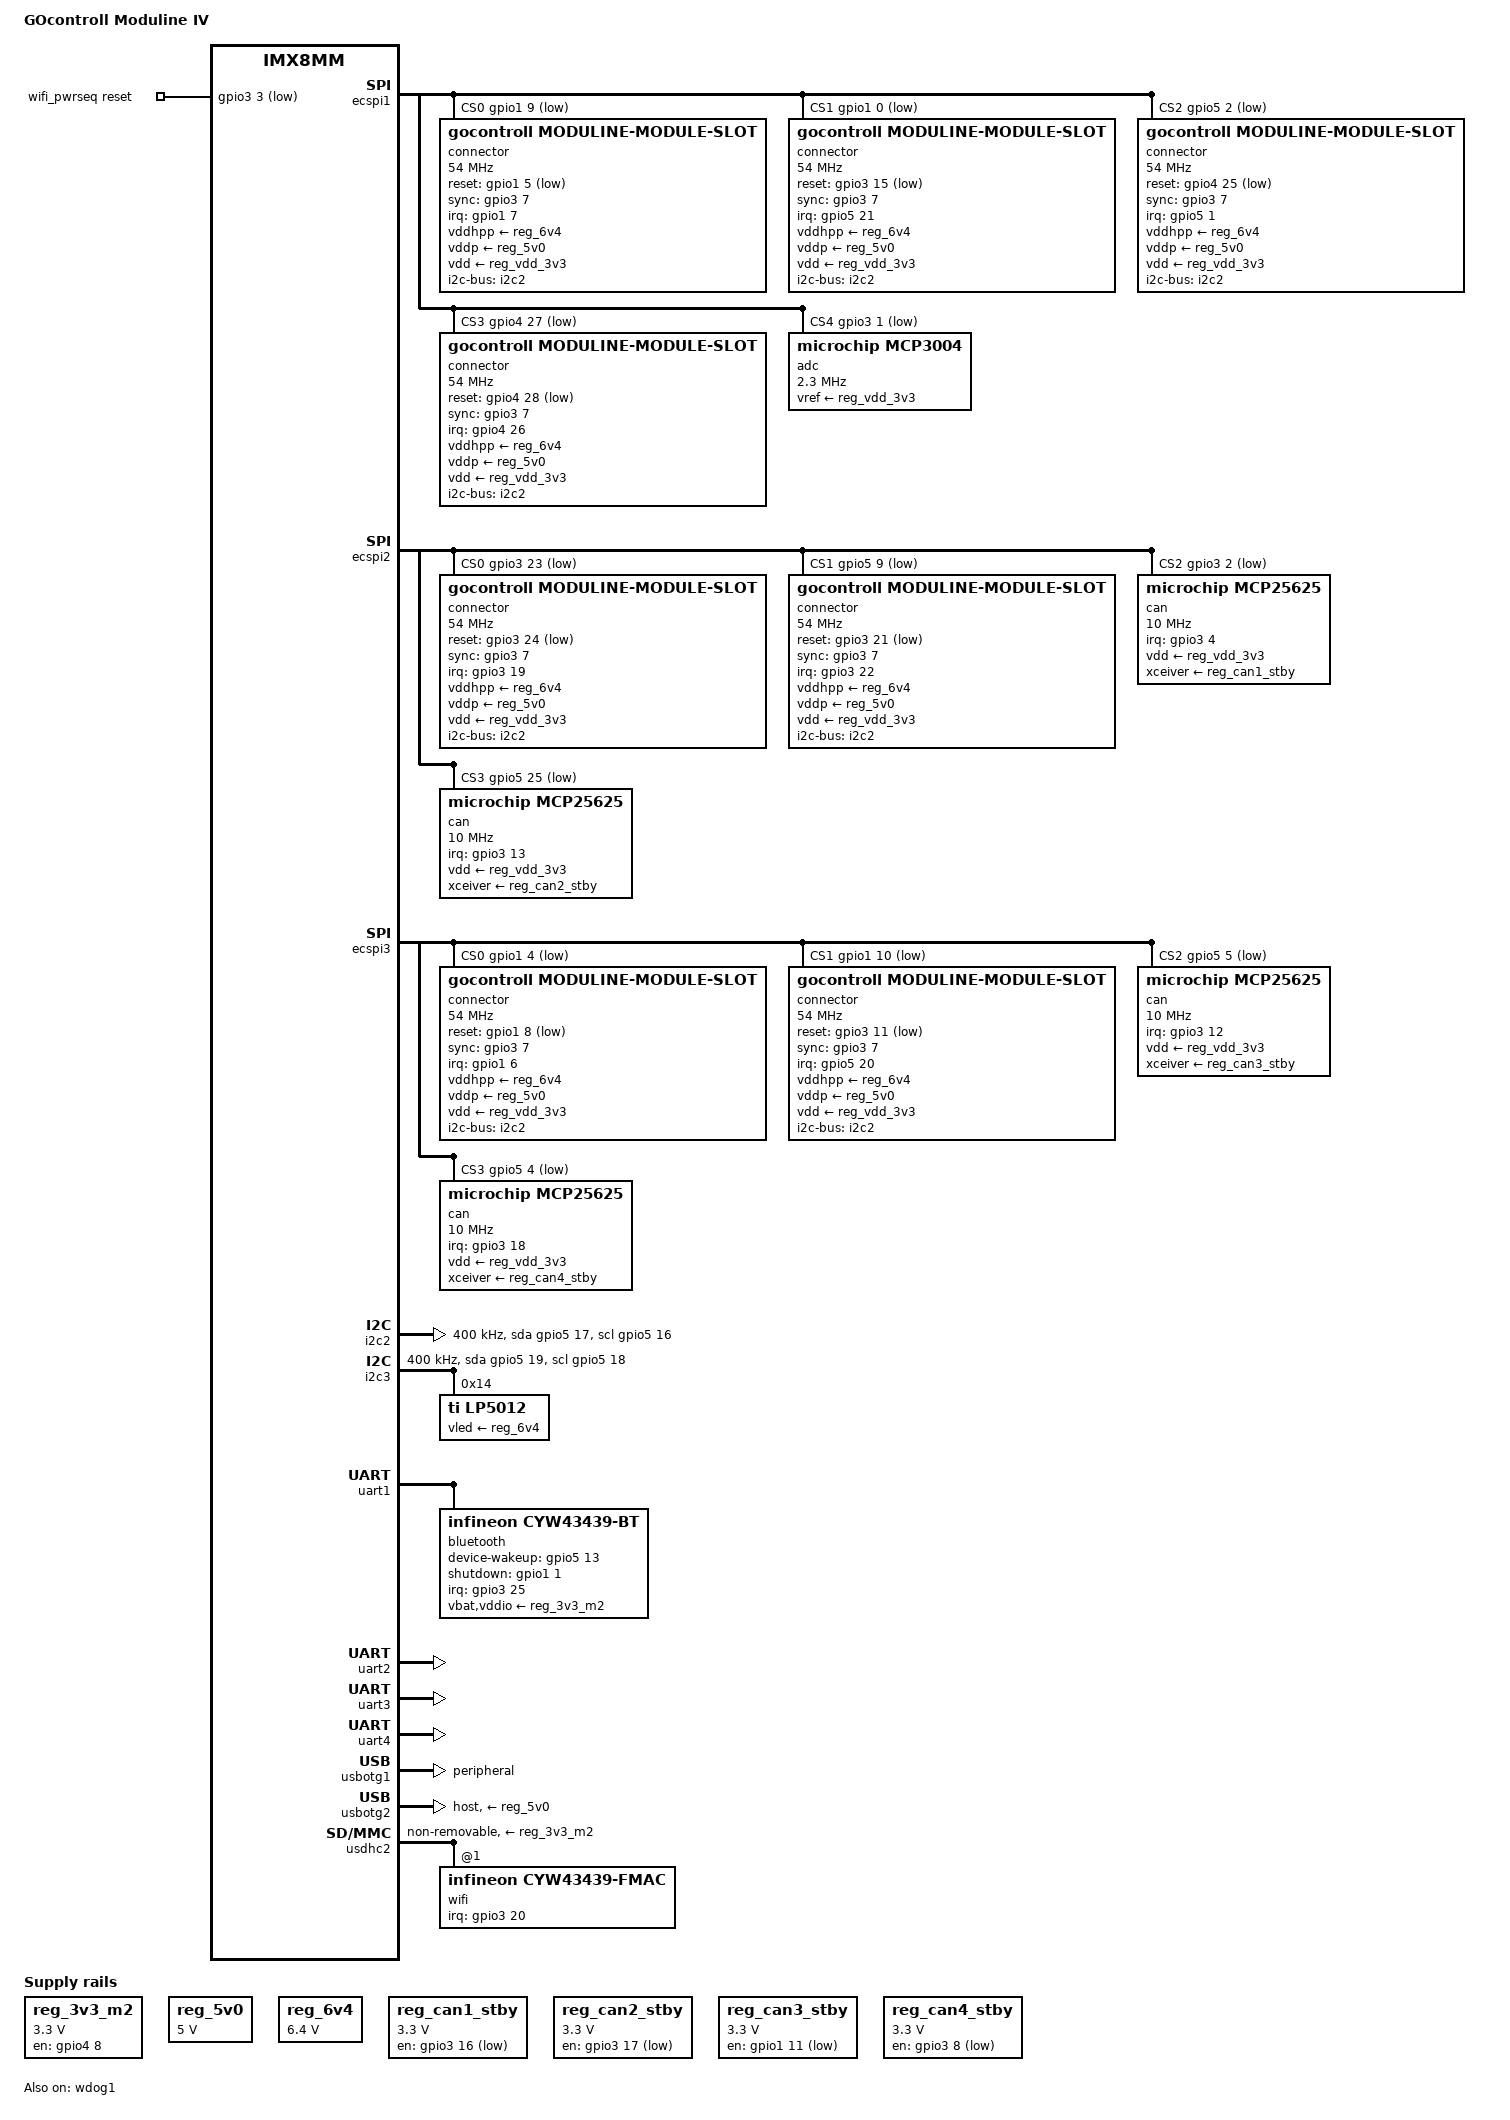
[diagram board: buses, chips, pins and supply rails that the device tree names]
// SPDX-License-Identifier: (GPL-2.0 OR MIT)
/*
 * Copyright (C) 2025 Maud Spierings <maudspierings@gocontroll.com>
 */

/dts-v1/;

#include <dt-bindings/leds/common.h>

#include "imx8mm-tx8m-1610.dtsi"

/ {
	chassis-type = "embedded";
	compatible = "gocontroll,moduline-iv-306-d", "karo,tx8m-1610", "fsl,imx8mm";
	hardware = "Moduline IV V3.06-D";
	model = "GOcontroll Moduline IV";

	aliases {
		spi0 = &ecspi2; /* spidev number compatibility */
		spi1 = &ecspi3; /* spidev number compatibility */
		spi2 = &ecspi1; /* spidev number compatibility */
	};

	chosen {
		stdout-path = "serial2:115200n8";
	};

	mcp_clock: mcp-clock {
		compatible = "fixed-clock";
		#clock-cells = <0>;
		clock-frequency = <20000000>;
	};

	reg_3v3_m2: regulator-3v3-m2 {
		compatible = "regulator-fixed";
		enable-active-high;
		gpio = <&gpio4 8 GPIO_ACTIVE_HIGH>;
		pinctrl-0 = <&pinctrl_reg_m2>;
		pinctrl-names = "default";
		power-supply = <&reg_6v4>;
		regulator-max-microvolt = <3300000>;
		regulator-min-microvolt = <3300000>;
		regulator-name = "3v3-m.2";
	};

	reg_5v0: regulator-5v0 {
		compatible = "regulator-fixed";
		power-supply = <&reg_6v4>;
		regulator-always-on;
		regulator-max-microvolt = <5000000>;
		regulator-min-microvolt = <5000000>;
		regulator-name = "5v0";
	};

	reg_6v4: regulator-6v4 {
		compatible = "regulator-fixed";
		regulator-always-on;
		regulator-max-microvolt = <6400000>;
		regulator-min-microvolt = <6400000>;
		regulator-name = "6v4";
	};

	reg_can1_stby: regulator-can1-stby {
		compatible = "regulator-fixed";
		gpio = <&gpio3 16 GPIO_ACTIVE_LOW>;
		pinctrl-0 = <&pinctrl_can1_reg>;
		pinctrl-names = "default";
		regulator-max-microvolt = <3300000>;
		regulator-min-microvolt = <3300000>;
		regulator-name = "can1-stby";
	};

	reg_can2_stby: regulator-can2-stby {
		compatible = "regulator-fixed";
		gpio = <&gpio3 17 GPIO_ACTIVE_LOW>;
		pinctrl-0 = <&pinctrl_can2_reg>;
		pinctrl-names = "default";
		regulator-max-microvolt = <3300000>;
		regulator-min-microvolt = <3300000>;
		regulator-name = "can2-stby";
	};

	reg_can3_stby: regulator-can3-stby {
		compatible = "regulator-fixed";
		gpio = <&gpio1 11 GPIO_ACTIVE_LOW>;
		pinctrl-0 = <&pinctrl_can3_reg>;
		pinctrl-names = "default";
		regulator-max-microvolt = <3300000>;
		regulator-min-microvolt = <3300000>;
		regulator-name = "can3-stby";
	};

	reg_can4_stby: regulator-can4-stby {
		compatible = "regulator-fixed";
		gpio = <&gpio3 8 GPIO_ACTIVE_LOW>;
		pinctrl-0 = <&pinctrl_can4_reg>;
		pinctrl-names = "default";
		regulator-max-microvolt = <3300000>;
		regulator-min-microvolt = <3300000>;
		regulator-name = "can4-stby";
	};

	wifi_pwrseq: wifi-pwrseq {
		compatible = "mmc-pwrseq-simple";
		pinctrl-0 = <&pinctrl_wl_reg>;
		pinctrl-names = "default";
		post-power-on-delay-ms = <100>;
		power-off-delay-us = <500000>;
		reset-gpios = <&gpio3 3 GPIO_ACTIVE_LOW>;
	};
};

/* SPI 2 */
&ecspi1 {
	cs-gpios = <&gpio1 9 GPIO_ACTIVE_LOW>,
		   <&gpio1 0 GPIO_ACTIVE_LOW>,
		   <&gpio5 2 GPIO_ACTIVE_LOW>,
		   <&gpio4 27 GPIO_ACTIVE_LOW>,
		   <&gpio3 1 GPIO_ACTIVE_LOW>;
	pinctrl-0 = <&pinctrl_ecspi1>;
	pinctrl-names = "default";
	status = "okay";

	connector@0 {
		compatible = "gocontroll,moduline-module-slot";
		reg = <0>;
		i2c-bus = <&i2c2>;
		interrupt-parent = <&gpio1>;
		interrupts = <7 IRQ_TYPE_EDGE_FALLING>;
		reset-gpios = <&gpio1 5 GPIO_ACTIVE_LOW>;
		slot-number = <3>;
		spi-max-frequency = <54000000>;
		sync-gpios = <&gpio3 7 GPIO_ACTIVE_HIGH>;
		vddhpp-supply = <&reg_6v4>;
		vddp-supply = <&reg_5v0>;
		vdd-supply = <&reg_vdd_3v3>;
	};

	connector@1 {
		compatible = "gocontroll,moduline-module-slot";
		reg = <1>;
		i2c-bus = <&i2c2>;
		interrupt-parent = <&gpio5>;
		interrupts = <21 IRQ_TYPE_EDGE_FALLING>;
		reset-gpios = <&gpio3 15 GPIO_ACTIVE_LOW>;
		slot-number = <4>;
		spi-max-frequency = <54000000>;
		sync-gpios = <&gpio3 7 GPIO_ACTIVE_HIGH>;
		vddhpp-supply = <&reg_6v4>;
		vddp-supply = <&reg_5v0>;
		vdd-supply = <&reg_vdd_3v3>;
	};

	connector@2 {
		compatible = "gocontroll,moduline-module-slot";
		reg = <2>;
		i2c-bus = <&i2c2>;
		interrupt-parent = <&gpio5>;
		interrupts = <1 IRQ_TYPE_EDGE_FALLING>;
		reset-gpios = <&gpio4 25 GPIO_ACTIVE_LOW>;
		slot-number = <5>;
		spi-max-frequency = <54000000>;
		sync-gpios = <&gpio3 7 GPIO_ACTIVE_HIGH>;
		vddhpp-supply = <&reg_6v4>;
		vddp-supply = <&reg_5v0>;
		vdd-supply = <&reg_vdd_3v3>;
	};

	connector@3 {
		compatible = "gocontroll,moduline-module-slot";
		reg = <3>;
		i2c-bus = <&i2c2>;
		interrupt-parent = <&gpio4>;
		interrupts = <26 IRQ_TYPE_EDGE_FALLING>;
		reset-gpios = <&gpio4 28 GPIO_ACTIVE_LOW>;
		slot-number = <6>;
		spi-max-frequency = <54000000>;
		sync-gpios = <&gpio3 7 GPIO_ACTIVE_HIGH>;
		vddhpp-supply = <&reg_6v4>;
		vddp-supply = <&reg_5v0>;
		vdd-supply = <&reg_vdd_3v3>;
	};

	adc@4 {
		compatible = "microchip,mcp3004";
		reg = <4>;
		spi-max-frequency = <2300000>;
		vref-supply = <&reg_vdd_3v3>;
	};
};

&ecspi2 {
	cs-gpios = <&gpio3 23 GPIO_ACTIVE_LOW>,
		   <&gpio5 9 GPIO_ACTIVE_LOW>,
		   <&gpio3 2 GPIO_ACTIVE_LOW>,
		   <&gpio5 25 GPIO_ACTIVE_LOW>;
	pinctrl-0 = <&pinctrl_ecspi2>;
	pinctrl-names = "default";
	status = "okay";

	connector@0 {
		compatible = "gocontroll,moduline-module-slot";
		reg = <0>;
		i2c-bus = <&i2c2>;
		interrupt-parent = <&gpio3>;
		interrupts = <19 IRQ_TYPE_EDGE_FALLING>;
		reset-gpios = <&gpio3 24 GPIO_ACTIVE_LOW>;
		slot-number = <7>;
		spi-max-frequency = <54000000>;
		sync-gpios = <&gpio3 7 GPIO_ACTIVE_HIGH>;
		vddhpp-supply = <&reg_6v4>;
		vddp-supply = <&reg_5v0>;
		vdd-supply = <&reg_vdd_3v3>;
	};

	connector@1 {
		compatible = "gocontroll,moduline-module-slot";
		reg = <1>;
		i2c-bus = <&i2c2>;
		interrupt-parent = <&gpio3>;
		interrupts = <22 IRQ_TYPE_EDGE_FALLING>;
		reset-gpios = <&gpio3 21 GPIO_ACTIVE_LOW>;
		slot-number = <8>;
		spi-max-frequency = <54000000>;
		sync-gpios = <&gpio3 7 GPIO_ACTIVE_HIGH>;
		vddhpp-supply = <&reg_6v4>;
		vddp-supply = <&reg_5v0>;
		vdd-supply = <&reg_vdd_3v3>;
	};

	can@2 {
		compatible = "microchip,mcp25625";
		reg = <2>;
		clocks = <&mcp_clock>;
		interrupt-parent = <&gpio3>;
		interrupts = <4 IRQ_TYPE_LEVEL_LOW>;
		pinctrl-0 = <&pinctrl_can1>;
		pinctrl-names = "default";
		spi-max-frequency = <10000000>;
		vdd-supply = <&reg_vdd_3v3>;
		xceiver-supply = <&reg_can1_stby>;
	};

	can@3 {
		compatible = "microchip,mcp25625";
		reg = <3>;
		clocks = <&mcp_clock>;
		interrupt-parent = <&gpio3>;
		interrupts = <13 IRQ_TYPE_LEVEL_LOW>;
		pinctrl-0 = <&pinctrl_can2>;
		pinctrl-names = "default";
		spi-max-frequency = <10000000>;
		vdd-supply = <&reg_vdd_3v3>;
		xceiver-supply = <&reg_can2_stby>;
	};
};

&ecspi3 {
	cs-gpios = <&gpio1 4 GPIO_ACTIVE_LOW>,
		   <&gpio1 10 GPIO_ACTIVE_LOW>,
		   <&gpio5 5 GPIO_ACTIVE_LOW>,
		   <&gpio5 4 GPIO_ACTIVE_LOW>;
	pinctrl-0 = <&pinctrl_ecspi3>;
	pinctrl-names = "default";
	status = "okay";

	connector@0 {
		compatible = "gocontroll,moduline-module-slot";
		reg = <0>;
		i2c-bus = <&i2c2>;
		interrupt-parent = <&gpio1>;
		interrupts = <6 IRQ_TYPE_EDGE_FALLING>;
		reset-gpios = <&gpio1 8 GPIO_ACTIVE_LOW>;
		slot-number = <1>;
		spi-max-frequency = <54000000>;
		sync-gpios = <&gpio3 7 GPIO_ACTIVE_HIGH>;
		vddhpp-supply = <&reg_6v4>;
		vddp-supply = <&reg_5v0>;
		vdd-supply = <&reg_vdd_3v3>;
	};

	connector@1 {
		compatible = "gocontroll,moduline-module-slot";
		reg = <1>;
		i2c-bus = <&i2c2>;
		interrupt-parent = <&gpio5>;
		interrupts = <20 IRQ_TYPE_EDGE_FALLING>;
		reset-gpios = <&gpio3 11 GPIO_ACTIVE_LOW>;
		slot-number = <2>;
		spi-max-frequency = <54000000>;
		sync-gpios = <&gpio3 7 GPIO_ACTIVE_HIGH>;
		vddhpp-supply = <&reg_6v4>;
		vddp-supply = <&reg_5v0>;
		vdd-supply = <&reg_vdd_3v3>;
	};

	can@2 {
		compatible = "microchip,mcp25625";
		reg = <2>;
		clocks = <&mcp_clock>;
		interrupt-parent = <&gpio3>;
		interrupts = <12 IRQ_TYPE_LEVEL_LOW>;
		pinctrl-0 = <&pinctrl_can3>;
		pinctrl-names = "default";
		spi-max-frequency = <10000000>;
		vdd-supply = <&reg_vdd_3v3>;
		xceiver-supply = <&reg_can3_stby>;
	};

	can@3 {
		compatible = "microchip,mcp25625";
		reg = <3>;
		clocks = <&mcp_clock>;
		interrupt-parent = <&gpio3>;
		interrupts = <18 IRQ_TYPE_LEVEL_LOW>;
		pinctrl-0 = <&pinctrl_can4>;
		pinctrl-names = "default";
		spi-max-frequency = <10000000>;
		vdd-supply = <&reg_vdd_3v3>;
		xceiver-supply = <&reg_can4_stby>;
	};
};

&gpu_2d {
	status = "disabled";
};

&gpu_3d {
	status = "disabled";
};

&i2c2 {
	clock-frequency = <400000>;
	pinctrl-names = "default", "gpio";
	pinctrl-0 = <&pinctrl_i2c2>;
	pinctrl-1 = <&pinctrl_i2c2_gpio>;
	scl-gpios = <&gpio5 16 (GPIO_ACTIVE_HIGH | GPIO_OPEN_DRAIN)>;
	sda-gpios = <&gpio5 17 (GPIO_ACTIVE_HIGH | GPIO_OPEN_DRAIN)>;
	status = "okay";
};

&i2c3 {
	clock-frequency = <400000>;
	pinctrl-0 = <&pinctrl_i2c3>;
	pinctrl-1 = <&pinctrl_i2c3_gpio>;
	pinctrl-names = "default", "gpio";
	scl-gpios = <&gpio5 18 (GPIO_ACTIVE_HIGH | GPIO_OPEN_DRAIN)>;
	sda-gpios = <&gpio5 19 (GPIO_ACTIVE_HIGH | GPIO_OPEN_DRAIN)>;
	status = "okay";

	lp5012@14 {
		compatible = "ti,lp5012";
		reg = <0x14>;
		vled-supply = <&reg_6v4>;
		#address-cells = <1>;
		#size-cells = <0>;

		multi-led@0 {
			#address-cells = <1>;
			#size-cells = <0>;
			reg = <0>;
			color = <LED_COLOR_ID_RGB>;
			label = "case-led1";

			led@0 {
				color = <LED_COLOR_ID_RED>;
				reg = <0>;
			};

			led@1 {
				color = <LED_COLOR_ID_GREEN>;
				reg = <1>;
			};

			led@2 {
				color = <LED_COLOR_ID_BLUE>;
				reg = <2>;
			};
		};

		multi-led@1 {
			#address-cells = <1>;
			#size-cells = <0>;
			reg = <1>;
			color = <LED_COLOR_ID_RGB>;
			label = "case-led2";

			led@0 {
				color = <LED_COLOR_ID_RED>;
				reg = <0>;
			};

			led@1 {
				color = <LED_COLOR_ID_GREEN>;
				reg = <1>;
			};

			led@2 {
				color = <LED_COLOR_ID_BLUE>;
				reg = <2>;
			};
		};

		multi-led@2 {
			#address-cells = <1>;
			#size-cells = <0>;
			reg = <2>;
			color = <LED_COLOR_ID_RGB>;
			label = "case-led3";

			led@0 {
				color = <LED_COLOR_ID_RED>;
				reg = <0>;
			};

			led@1 {
				color = <LED_COLOR_ID_GREEN>;
				reg = <1>;
			};

			led@2 {
				color = <LED_COLOR_ID_BLUE>;
				reg = <2>;
			};
		};

		multi-led@3 {
			#address-cells = <1>;
			#size-cells = <0>;
			reg = <3>;
			color = <LED_COLOR_ID_RGB>;
			label = "case-led4";

			led@0 {
				color = <LED_COLOR_ID_RED>;
				reg = <0>;
			};

			led@1 {
				color = <LED_COLOR_ID_GREEN>;
				reg = <1>;
			};

			led@2 {
				color = <LED_COLOR_ID_BLUE>;
				reg = <2>;
			};
		};
	};
};

&iomuxc {
	pinctrl_bt: btgrp {
		fsl,pins = <
			MX8MM_IOMUXC_GPIO1_IO01_GPIO1_IO1
				MX8MM_DSE_X1
			MX8MM_IOMUXC_SAI5_MCLK_GPIO3_IO25
				(MX8MM_PULL_UP | MX8MM_PULL_ENABLE | MX8MM_HYS_SCHMITT)
			MX8MM_IOMUXC_ECSPI2_SS0_GPIO5_IO13
				MX8MM_DSE_X1
		>;
	};

	pinctrl_can1: can1grp {
		fsl,pins = <
			MX8MM_IOMUXC_NAND_ALE_GPIO3_IO0
				(MX8MM_PULL_UP | MX8MM_PULL_ENABLE)
			MX8MM_IOMUXC_NAND_CE3_B_GPIO3_IO4
				(MX8MM_PULL_UP | MX8MM_PULL_ENABLE | MX8MM_HYS_SCHMITT)
		>;
	};

	pinctrl_can1_reg: can1reggrp {
		fsl,pins = <
			MX8MM_IOMUXC_NAND_READY_B_GPIO3_IO16
				(MX8MM_DSE_X2 | MX8MM_FSEL_FAST | MX8MM_PULL_UP | MX8MM_PULL_ENABLE)
		>;
	};

	pinctrl_can2: can2grp {
		fsl,pins = <
			MX8MM_IOMUXC_SD2_CD_B_GPIO2_IO12
				(MX8MM_PULL_UP | MX8MM_PULL_ENABLE)
			MX8MM_IOMUXC_NAND_DATA07_GPIO3_IO13
				(MX8MM_PULL_UP | MX8MM_PULL_ENABLE | MX8MM_HYS_SCHMITT)
		>;
	};

	pinctrl_can2_reg: can2reggrp {
		fsl,pins = <
			MX8MM_IOMUXC_NAND_WE_B_GPIO3_IO17
				(MX8MM_DSE_X2 | MX8MM_FSEL_FAST | MX8MM_PULL_UP | MX8MM_PULL_ENABLE)
		>;
	};

	pinctrl_can3: can3grp {
		fsl,pins = <
			MX8MM_IOMUXC_SPDIF_TX_GPIO5_IO3
				(MX8MM_PULL_UP | MX8MM_PULL_ENABLE)
			MX8MM_IOMUXC_NAND_DATA06_GPIO3_IO12
				(MX8MM_PULL_UP | MX8MM_PULL_ENABLE | MX8MM_HYS_SCHMITT)
		>;
	};

	pinctrl_can3_reg: can3reggrp {
		fsl,pins = <
			MX8MM_IOMUXC_GPIO1_IO11_GPIO1_IO11
				(MX8MM_DSE_X2 | MX8MM_FSEL_FAST | MX8MM_PULL_UP | MX8MM_PULL_ENABLE)
		>;
	};

	pinctrl_can4: can4grp {
		fsl,pins = <
			MX8MM_IOMUXC_NAND_DQS_GPIO3_IO14
				(MX8MM_PULL_UP | MX8MM_PULL_ENABLE)
			MX8MM_IOMUXC_NAND_WP_B_GPIO3_IO18
				(MX8MM_PULL_UP | MX8MM_PULL_ENABLE | MX8MM_HYS_SCHMITT)
		>;
	};

	pinctrl_can4_reg: can4reggrp {
		fsl,pins = <
			MX8MM_IOMUXC_NAND_DATA02_GPIO3_IO8
				(MX8MM_DSE_X2 | MX8MM_FSEL_FAST | MX8MM_PULL_UP | MX8MM_PULL_ENABLE)
		>;
	};

	pinctrl_ecspi1: ecspi1grp {
		fsl,pins = <
			MX8MM_IOMUXC_ECSPI1_MOSI_ECSPI1_MOSI
				MX8MM_DSE_X4
			MX8MM_IOMUXC_ECSPI1_MISO_ECSPI1_MISO
				(MX8MM_DSE_X4 | MX8MM_HYS_SCHMITT)
			MX8MM_IOMUXC_ECSPI1_SCLK_ECSPI1_SCLK
				MX8MM_DSE_X4
			MX8MM_IOMUXC_GPIO1_IO09_GPIO1_IO9
				MX8MM_DSE_X1
			MX8MM_IOMUXC_GPIO1_IO00_GPIO1_IO0
				MX8MM_DSE_X1
			MX8MM_IOMUXC_SAI3_MCLK_GPIO5_IO2
				MX8MM_DSE_X1
			MX8MM_IOMUXC_SAI2_MCLK_GPIO4_IO27
				MX8MM_DSE_X1
			MX8MM_IOMUXC_NAND_CE0_B_GPIO3_IO1
				MX8MM_DSE_X1
		>;
	};

	pinctrl_ecspi2: ecspi2grp {
		fsl,pins = <
			MX8MM_IOMUXC_ECSPI2_MOSI_ECSPI2_MOSI
				MX8MM_DSE_X4
			MX8MM_IOMUXC_ECSPI2_MISO_ECSPI2_MISO
				(MX8MM_DSE_X4 | MX8MM_HYS_SCHMITT)
			MX8MM_IOMUXC_ECSPI2_SCLK_ECSPI2_SCLK
				MX8MM_DSE_X4
			MX8MM_IOMUXC_SAI5_RXD2_GPIO3_IO23
				MX8MM_DSE_X1
			MX8MM_IOMUXC_ECSPI1_SS0_GPIO5_IO9
				MX8MM_DSE_X1
			MX8MM_IOMUXC_NAND_CE1_B_GPIO3_IO2
				MX8MM_DSE_X1
			MX8MM_IOMUXC_UART2_TXD_GPIO5_IO25
				MX8MM_DSE_X1
		>;
	};

	pinctrl_ecspi3: ecspi3grp {
		fsl,pins = <
			MX8MM_IOMUXC_UART1_TXD_ECSPI3_MOSI
				MX8MM_DSE_X4
			MX8MM_IOMUXC_UART2_RXD_ECSPI3_MISO
				(MX8MM_DSE_X4 | MX8MM_HYS_SCHMITT)
			MX8MM_IOMUXC_UART1_RXD_ECSPI3_SCLK
				MX8MM_DSE_X4
			MX8MM_IOMUXC_GPIO1_IO04_GPIO1_IO4
				MX8MM_DSE_X1
			MX8MM_IOMUXC_GPIO1_IO10_GPIO1_IO10
				MX8MM_DSE_X1
			MX8MM_IOMUXC_SPDIF_EXT_CLK_GPIO5_IO5
				MX8MM_DSE_X1
			MX8MM_IOMUXC_SPDIF_RX_GPIO5_IO4
				MX8MM_DSE_X1
		>;
	};

	pinctrl_i2c2: i2c2grp {
		fsl,pins = <
			MX8MM_IOMUXC_I2C2_SCL_I2C2_SCL
				MX8MM_I2C_DEFAULT
			MX8MM_IOMUXC_I2C2_SDA_I2C2_SDA
				MX8MM_I2C_DEFAULT
		>;
	};

	pinctrl_i2c2_gpio: i2c2-gpiogrp {
		fsl,pins = <
			MX8MM_IOMUXC_I2C2_SCL_GPIO5_IO16
				MX8MM_I2C_DEFAULT
			MX8MM_IOMUXC_I2C2_SDA_GPIO5_IO17
				MX8MM_I2C_DEFAULT
		>;
	};

	pinctrl_i2c3: i2c3grp {
		fsl,pins = <
			MX8MM_IOMUXC_I2C3_SCL_I2C3_SCL
				MX8MM_I2C_DEFAULT
			MX8MM_IOMUXC_I2C3_SDA_I2C3_SDA
				MX8MM_I2C_DEFAULT
		>;
	};

	pinctrl_i2c3_gpio: i2c3-gpiogrp {
		fsl,pins = <
			MX8MM_IOMUXC_I2C3_SCL_GPIO5_IO18
				MX8MM_I2C_DEFAULT
			MX8MM_IOMUXC_I2C3_SDA_GPIO5_IO19
				MX8MM_I2C_DEFAULT
		>;
	};

	pinctrl_reg_m2: reg-m2grp {
		fsl,pins = <
			MX8MM_IOMUXC_SAI1_RXD6_GPIO4_IO8
				MX8MM_DSE_X1
		>;
	};

	pinctrl_uart1: uart1grp {
		fsl,pins = <
			MX8MM_IOMUXC_SAI2_RXC_UART1_DCE_RX
				(MX8MM_PULL_UP | MX8MM_PULL_ENABLE)
			MX8MM_IOMUXC_SAI2_RXFS_UART1_DCE_TX
				(MX8MM_PULL_UP | MX8MM_PULL_ENABLE)
			MX8MM_IOMUXC_SAI2_RXD0_UART1_DCE_RTS_B
				(MX8MM_PULL_UP | MX8MM_PULL_ENABLE)
			MX8MM_IOMUXC_SAI2_TXFS_UART1_DCE_CTS_B
				(MX8MM_PULL_UP | MX8MM_PULL_ENABLE)
		>;
	};

	pinctrl_uart2: uart2grp {
		fsl,pins = <
			MX8MM_IOMUXC_SAI3_TXFS_UART2_DCE_RX
				(MX8MM_PULL_UP | MX8MM_PULL_ENABLE)
			MX8MM_IOMUXC_SAI3_TXC_UART2_DCE_TX
				(MX8MM_PULL_UP | MX8MM_PULL_ENABLE)
			MX8MM_IOMUXC_SAI3_RXD_UART2_DCE_RTS_B
				(MX8MM_PULL_UP | MX8MM_PULL_ENABLE)
			MX8MM_IOMUXC_SAI3_RXC_UART2_DCE_CTS_B
				(MX8MM_PULL_UP | MX8MM_PULL_ENABLE)
		>;
	};

	pinctrl_uart3: uart3grp {
		fsl,pins = <
			MX8MM_IOMUXC_UART3_RXD_UART3_DCE_RX
				(MX8MM_PULL_UP | MX8MM_PULL_ENABLE)
			MX8MM_IOMUXC_UART3_TXD_UART3_DCE_TX
				(MX8MM_PULL_UP | MX8MM_PULL_ENABLE)
		>;
	};

	pinctrl_uart4: uart4grp {
		fsl,pins = <
			MX8MM_IOMUXC_UART4_RXD_UART4_DCE_RX
				(MX8MM_PULL_UP | MX8MM_PULL_ENABLE)
			MX8MM_IOMUXC_UART4_TXD_UART4_DCE_TX
				(MX8MM_PULL_UP | MX8MM_PULL_ENABLE)
		>;
	};

	pinctrl_usdhc2: pinctrlusdhc2grp {
		fsl,pins = <
			MX8MM_IOMUXC_SD2_CLK_USDHC2_CLK
				(MX8MM_DSE_X2 | MX8MM_FSEL_FAST | MX8MM_PULL_ENABLE)
			MX8MM_IOMUXC_SD2_CMD_USDHC2_CMD
				(MX8MM_DSE_X2 | MX8MM_USDHC_DATA_DEFAULT)
			MX8MM_IOMUXC_SD2_DATA0_USDHC2_DATA0
				(MX8MM_DSE_X2 | MX8MM_USDHC_DATA_DEFAULT)
			MX8MM_IOMUXC_SD2_DATA1_USDHC2_DATA1
				(MX8MM_DSE_X2 | MX8MM_USDHC_DATA_DEFAULT)
			MX8MM_IOMUXC_SD2_DATA2_USDHC2_DATA2
				(MX8MM_DSE_X2 | MX8MM_USDHC_DATA_DEFAULT)
			MX8MM_IOMUXC_SD2_DATA3_USDHC2_DATA3
				(MX8MM_DSE_X2 | MX8MM_USDHC_DATA_DEFAULT)
		>;
	};

	pinctrl_wl_int: wlintgrp {
		fsl,pins = <
			MX8MM_IOMUXC_SAI5_RXC_GPIO3_IO20
				(MX8MM_PULL_UP | MX8MM_HYS_SCHMITT | MX8MM_PULL_ENABLE)
		>;
	};

	pinctrl_wl_reg: wlreggrp {
		fsl,pins = <
			MX8MM_IOMUXC_NAND_CE2_B_GPIO3_IO3
				MX8MM_DSE_X1
		>;
	};
};

&uart1 {
	pinctrl-0 = <&pinctrl_uart1>;
	pinctrl-names = "default";
	uart-has-rtscts;
	status = "okay";

	bluetooth {
		compatible = "infineon,cyw43439-bt", "brcm,bcm4329-bt";
		device-wakeup-gpios = <&gpio5 13 GPIO_ACTIVE_HIGH>;
		interrupt-names = "host-wakeup";
		interrupt-parent = <&gpio3>;
		interrupts = <25 IRQ_TYPE_EDGE_FALLING>;
		max-speed = <921600>;
		pinctrl-0 = <&pinctrl_bt>;
		pinctrl-names = "default";
		shutdown-gpios = <&gpio1 1 GPIO_ACTIVE_HIGH>;
		vbat-supply = <&reg_3v3_m2>;
		vddio-supply = <&reg_3v3_m2>;
	};
};

&uart2 {
	pinctrl-0 = <&pinctrl_uart2>;
	pinctrl-names = "default";
	uart-has-rtscts;
	status = "okay";
};

&uart3 {
	pinctrl-0 = <&pinctrl_uart3>;
	pinctrl-names = "default";
	status = "okay";
};

&uart4 {
	pinctrl-0 = <&pinctrl_uart4>;
	pinctrl-names = "default";
	status = "okay";
};

&usbotg1 {
	disable-over-current;
	dr_mode = "peripheral";
	status = "okay";
};

&usbotg2 {
	disable-over-current;
	dr_mode = "host";
	vbus-supply = <&reg_5v0>;
	status = "okay";
};

&usdhc2 {
	#address-cells = <1>;
	#size-cells = <0>;
	cap-power-off-card;
	keep-power-in-suspend;
	max-frequency = <50000000>;
	mmc-pwrseq = <&wifi_pwrseq>;
	non-removable;
	pinctrl-0 = <&pinctrl_usdhc2>;
	pinctrl-names = "default";
	sd-uhs-sdr25;
	vmmc-supply = <&reg_3v3_m2>;
	status = "okay";

	wifi@1 {
		compatible = "infineon,cyw43439-fmac", "brcm,bcm4329-fmac";
		reg = <1>;
		pinctrl-0 = <&pinctrl_wl_int>;
		pinctrl-names = "default";
		interrupt-names = "host-wake";
		interrupt-parent = <&gpio3>;
		interrupts = <20 IRQ_TYPE_LEVEL_LOW>;
		brcm,board-type = "GOcontroll,moduline";
	};
};

&vpu_blk_ctrl {
	status = "disabled";
};

&vpu_g1 {
	status = "disabled";
};

&vpu_g2 {
	status = "disabled";
};

&wdog1 {
	status = "okay";
};
